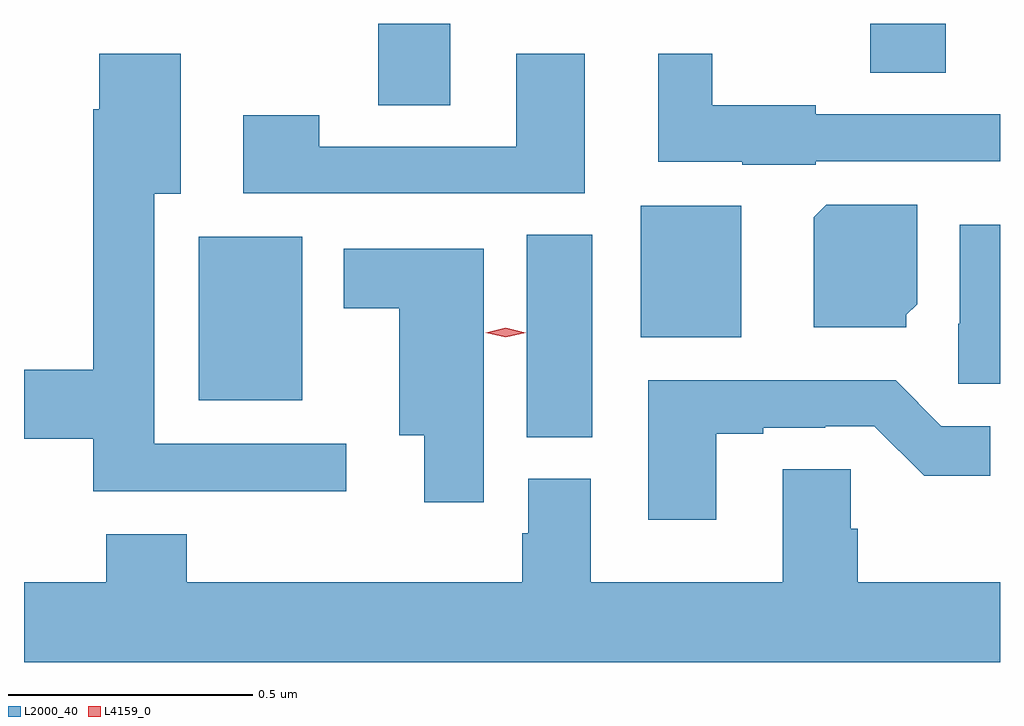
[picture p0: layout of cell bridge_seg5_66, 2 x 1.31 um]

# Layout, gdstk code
import gdstk
lib = gdstk.Library(unit=1e-6, precision=1e-09)
def R(c, l, rs):  # rectangles x0, y0, x1, y1
    for r in rs: c.add(gdstk.rectangle(r[:2], r[2:], *l))
def P(c, l, *ps):  # polygons
    for p in ps: c.add(gdstk.Polygon(p, *l))
L2000_40 = (2000, 40)
L4159_0 = (4159, 0)

bridge_seg5_66 = lib.new_cell('bridge_seg5_66')
R(bridge_seg5_66, L2000_40, [(245.27,906.505,245.404,906.92), (244.598,906.581,244.81,906.916), (245.504,906.71,245.71,906.98), (244.966,907.186,245.113,907.353), (245.974,907.252,246.129,907.353)])
P(bridge_seg5_66, L2000_40, [(244.9,906.492),(244.507,906.492),(244.507,907.004),(244.561,907.004),(244.561,907.291),(244.394,907.291),(244.394,907.178),(244.382,907.178),(244.382,906.644),(244.24,906.644),(244.24,906.502),(244.382,906.502),(244.382,906.395),(244.9,906.395)],
  [(245.389,907.291),(245.249,907.291),(245.249,907.101),(244.845,907.101),(244.845,907.165),(244.689,907.165),(244.689,907.005),(245.389,907.005)],
  [(245.862,907.071),(246.24,907.071),(246.24,907.167),(245.862,907.167),(245.862,907.186),(245.65,907.186),(245.65,907.291),(245.54,907.291),(245.54,907.07),(245.712,907.07),(245.712,907.064),(245.862,907.064)],
  [(246.048,906.756),(246.07,906.778),(246.07,906.982),(245.884,906.982),(245.858,906.956),(245.858,906.731),(246.048,906.731)],
  [(246.24,906.941),(246.158,906.941),(246.158,906.738),(246.154,906.738),(246.154,906.615),(246.24,906.615)],
  [(245.182,906.892),(244.895,906.892),(244.895,906.77),(245.009,906.77),(245.009,906.509),(245.06,906.509),(245.06,906.372),(245.182,906.372)],
  [(245.659,906.513),(245.755,906.513),(245.755,906.525),(245.882,906.525),(245.882,906.528),(245.982,906.528),(246.085,906.426),(246.22,906.426),(246.22,906.528),(246.12,906.528),(246.026,906.622),(245.519,906.622),(245.519,906.336),(245.659,906.336)],
  [(246.24,906.208),(245.948,906.208),(245.948,906.318),(245.934,906.318),(245.934,906.44),(245.795,906.44),(245.795,906.208),(245.401,906.208),(245.401,906.42),(245.273,906.42),(245.273,906.309),(245.261,906.309),(245.261,906.208),(244.574,906.208),(244.574,906.307),(244.409,906.307),(244.409,906.208),(244.24,906.208),(244.24,906.044),(246.24,906.044)])
P(bridge_seg5_66, L4159_0, [(245.227,906.71),(245.186,906.719),(245.186,906.72),(245.186,906.72),(245.227,906.73),(245.268,906.72),(245.268,906.72),(245.268,906.72)])

lib.write_gds('bridge_seg5_66.gds')
